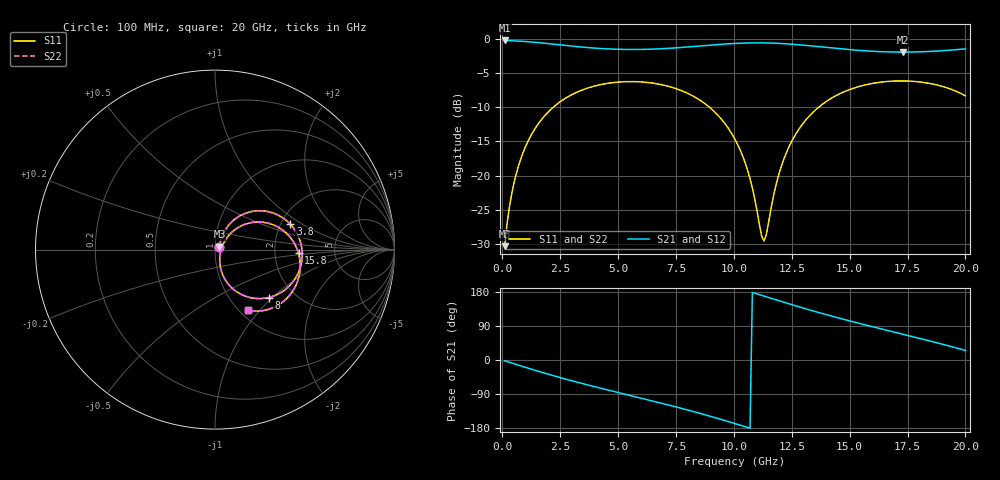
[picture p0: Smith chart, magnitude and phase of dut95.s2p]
! Touchstone file exported from HFSS 2026.1.0
!  File:  C:/ffzhzh/LocalFiles/Ansys_Project_Files/temp_train_TSV_RDL_95_1782973661_45308.aedt
!  Generated:  02:43:30 PM Jul  2, 2026
!  Design:  TSV_RDL
!  Project:  temp_train_TSV_RDL_95_1782973661_45308
! Variables:
!  h_bsmrdl = 4.91um
!  h_ox = 20um
!  h_rdl = 5um
!  h_sub = 53.06um
!  h_tmrdl = 5.45um
!  h_tsv = 53.06um
!  h_via = 3um
!  l_bsmrdl = 683.5um
!  l_sub = 5970.55um
!  l_tmrdl = 850.92um
!  m_sub = 200um
!  pitch = 42.1um
!  r_tsv = 6.02um
!  s_tmrdl = 10um
!  w_bsmrdl = 10.11um
!  w_sub = 500um
!  w_tmrdl = 28.68um
!  x_tsv_center1 = 865.26um
!  x_tsv_center2 = 1558.87um
!  x_tsv_center3 = 2438.47um
!  x_tsv_center4 = 3132.08um
!  x_tsv_center5 = 4011.68um
!  x_tsv_center6 = 4705.29um
# GHz S MA R 50.000000
! Terminal data exported
! Port[1] = TM_RDL1_1_T1
! Port[2] = TM_RDL5_1_T1
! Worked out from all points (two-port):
!   200 points, 100 MHz to 20 GHz, reference 50 ohm
!   highest |S21| = -0.22 dB at 100 MHz (marker M1); lowest = -1.9 dB at 17.3 GHz (marker M2)
!   |S21| within 3 dB of the highest: start of sweep to end of sweep
!   lowest |S11| = -30.3 dB at 100 MHz (marker M3), VSWR 1.06, Z = 52.5 + j1.81 ohm
!   |S11| at or under -10 dB: start of sweep to 2.199 GHz; 8.947 GHz to 13.66 GHz (4.714 GHz wide, 41.7 % of centre)
!   |S22| runs from -30.3 to -6.1 dB; largest |S21 - S12| = 1.6e-14
!   S11 on the Smith chart (normalised r, x): 100 MHz: 1.05, +0.04; 3.8 GHz: 2.26, +0.79; 8 GHz: 1.49, -0.95; 15.8 GHz: 2.74, -0.14; 20 GHz: 1.09, -0.86
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0.1  0.03038 34.5  0.9754 -2.1  0.9754 -2.1  0.03038 34.5
! Gamma 0 0 0 0
! Port Impedance 50 0 50 0
0.3  0.0576 56.6  0.9722 -6.0  0.9722 -6.0  0.0576 56.6
0.5  0.08733 61.8  0.9691 -9.9  0.9691 -9.9  0.08733 61.8
1.1  0.1768 59.1  0.9553 -21.3  0.9553 -21.3  0.1768 59.2
2.1  0.3054 44.6  0.9205 -39.5  0.9205 -39.5  0.3054 44.6
3.5  0.4261 23.0  0.8706 -62.8  0.8706 -62.8  0.4261 23.0
3.8  0.4431 18.5  0.8621 -67.5  0.8621 -67.5  0.4431 18.5
5.3  0.4866 -3.0  0.8382 -90.2  0.8382 -90.2  0.4866 -3.0
6.8  0.4654 -24.3  0.847 -112.8  0.847 -112.8  0.4654 -24.3
8  0.4004 -41.8  0.8737 -131.8  0.8737 -131.8  0.4004 -41.8
9.2  0.289 -59.7  0.9077 -152.3  0.9077 -152.3  0.289 -59.7
10.1  0.1773 -71.2  0.9284 -168.6  0.9284 -168.6  0.1773 -71.3
10.7  0.09467 -72.4  0.9358 -179.9  0.9358 -179.9  0.09466 -72.4
11.3  0.03315 -12.4  0.9362 168.7  0.9362 168.7  0.03302 -12.4
11.8  0.08241 43.3  0.931 159.2  0.931 159.2  0.08231 43.4
12.2  0.1374 45.8  0.9233 151.7  0.9233 151.7  0.1373 45.9
13.4  0.2884 32.2  0.8879 129.9  0.8879 129.9  0.2884 32.3
14.5  0.3917 16.2  0.8505 111.2  0.8505 111.2  0.3916 16.2
15.8  0.466 -2.5  0.8161 90.7  0.8161 90.7  0.4659 -2.4
16.7  0.4894 -15.1  0.8036 77.0  0.8036 77.0  0.4893 -15.0
17.3  0.493 -23.4  0.8013 68.0  0.8013 68.0  0.493 -23.3
20  0.3836 -61.6  0.8459 25.3  0.8459 25.3  0.3836 -61.5
